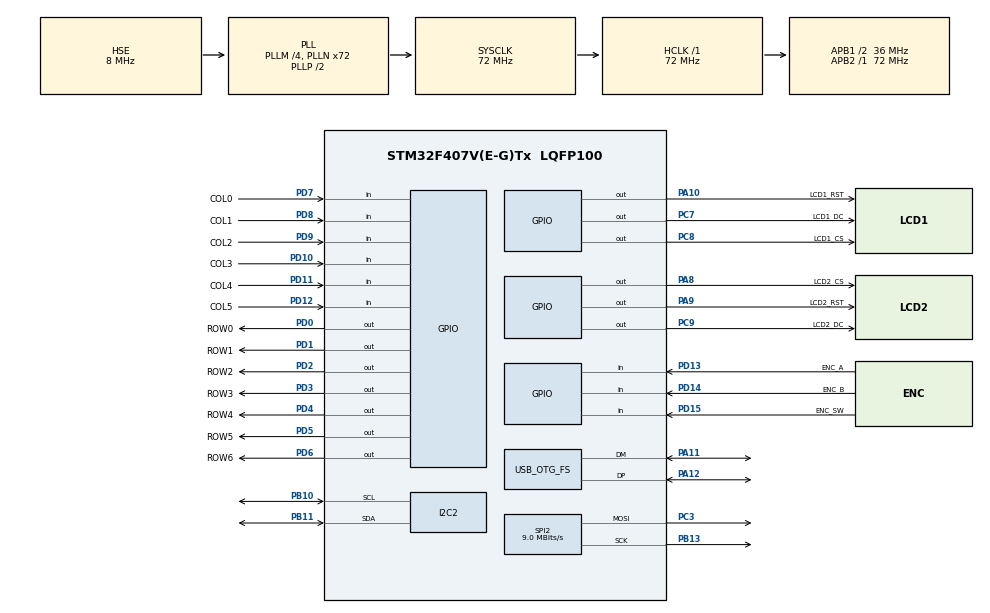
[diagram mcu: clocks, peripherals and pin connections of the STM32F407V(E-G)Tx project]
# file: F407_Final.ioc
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Dma.Request0=SPI2_TX
Dma.SPI2_TX.0.Direction=DMA_MEMORY_TO_PERIPH
Dma.SPI2_TX.0.FIFOMode=DMA_FIFOMODE_DISABLE
Dma.SPI2_TX.0.Instance=DMA1_Stream4
Dma.SPI2_TX.0.MemDataAlignment=DMA_MDATAALIGN_BYTE
Dma.SPI2_TX.0.MemInc=DMA_MINC_ENABLE
Dma.SPI2_TX.0.Mode=DMA_NORMAL
Dma.SPI2_TX.0.PeriphDataAlignment=DMA_PDATAALIGN_BYTE
Dma.SPI2_TX.0.PeriphInc=DMA_PINC_DISABLE
Dma.SPI2_TX.0.Priority=DMA_PRIORITY_LOW
I2C2.I2C_Mode=I2C_Fast
Mcu.Family=STM32F4
Mcu.Name=STM32F407V(E-G)Tx
Mcu.Package=LQFP100
NVIC.DMA1_Stream4_IRQn=true\:0\:0\:false\:false\:true\:false\:true\:true
NVIC.I2C2_EV_IRQn=true\:0\:0\:false\:false\:true\:true\:true\:true
NVIC.OTG_FS_IRQn=true\:0\:0\:false\:false\:true\:false\:true\:true
NVIC.PriorityGroup=NVIC_PRIORITYGROUP_4
NVIC.TIM4_IRQn=true\:0\:0\:false\:false\:true\:true\:true\:true
NVIC.TIM6_DAC_IRQn=true\:0\:0\:false\:false\:true\:true\:true\:true
NVIC.TIM7_IRQn=true\:0\:0\:false\:false\:true\:true\:true\:true
PA10.GPIO_Label=LCD1_RST
PA10.Signal=GPIO_Output
PA11.Mode=Device_Only
PA11.Signal=USB_OTG_FS_DM
PA12.Mode=Device_Only
PA12.Signal=USB_OTG_FS_DP
PA13.Mode=Serial_Wire
PA13.Signal=SYS_JTMS-SWDIO
PA14.Mode=Serial_Wire
PA14.Signal=SYS_JTCK-SWCLK
PA8.GPIO_Label=LCD2_CS
PA8.Signal=GPIO_Output
PA9.GPIO_Label=LCD2_RST
PA9.Signal=GPIO_Output
PB10.Mode=I2C
PB10.Signal=I2C2_SCL
PB11.Mode=I2C
PB11.Signal=I2C2_SDA
PB13.Mode=TX_Only_Simplex_Unidirect_Master
PB13.Signal=SPI2_SCK
PC3.Mode=TX_Only_Simplex_Unidirect_Master
PC3.Signal=SPI2_MOSI
PC7.GPIO_Label=LCD1_DC
PC7.Signal=GPIO_Output
PC8.GPIO_Label=LCD1_CS
PC8.Signal=GPIO_Output
PC9.GPIO_Label=LCD2_DC
PC9.Signal=GPIO_Output
PD0.GPIO_Label=ROW0
PD0.Signal=GPIO_Output
PD1.GPIO_Label=ROW1
PD1.Signal=GPIO_Output
PD10.GPIO_Label=COL3
PD10.Signal=GPIO_Input
PD11.GPIO_Label=COL4
PD11.Signal=GPIO_Input
PD12.GPIO_Label=COL5
PD12.Signal=GPIO_Input
PD13.GPIO_Label=ENC_A
PD13.Signal=GPIO_Input
PD14.GPIO_Label=ENC_B
PD14.Signal=GPIO_Input
PD15.GPIO_Label=ENC_SW
PD15.Signal=GPIO_Input
PD2.GPIO_Label=ROW2
PD2.Signal=GPIO_Output
PD3.GPIO_Label=ROW3
PD3.Signal=GPIO_Output
PD4.GPIO_Label=ROW4
PD4.Signal=GPIO_Output
PD5.GPIO_Label=ROW5
PD5.Signal=GPIO_Output
PD6.GPIO_Label=ROW6
PD6.Signal=GPIO_Output
PD7.GPIO_Label=COL0
PD7.Signal=GPIO_Input
PD8.GPIO_Label=COL1
PD8.Signal=GPIO_Input
PD9.GPIO_Label=COL2
PD9.Signal=GPIO_Input
PH0-OSC_IN.Mode=HSE-External-Clock-Source
PH0-OSC_IN.Signal=RCC_OSC_IN
PH1-OSC_OUT.Mode=HSE-External-Clock-Source
PH1-OSC_OUT.Signal=RCC_OSC_OUT
ProjectManager.HeapSize=0x1000
ProjectManager.StackSize=0x400
ProjectManager.TargetToolchain=STM32CubeIDE
RCC.48MHZClocksFreq_Value=48000000
RCC.AHBFreq_Value=72000000
RCC.APB1CLKDivider=RCC_HCLK_DIV2
RCC.APB1Freq_Value=36000000
RCC.APB1TimFreq_Value=72000000
RCC.APB2Freq_Value=72000000
RCC.APB2TimFreq_Value=72000000
RCC.CortexFreq_Value=72000000
RCC.HCLKFreq_Value=72000000
RCC.HSE_Timout=1000
RCC.HSE_VALUE=8000000
RCC.HSI_VALUE=16000000
RCC.LSE_VALUE=32768
RCC.PLLM=4
RCC.PLLN=72
RCC.PLLQ=3
RCC.SYSCLKFreq_VALUE=72000000
RCC.SYSCLKSource=RCC_SYSCLKSOURCE_PLLCLK
RCC.VCOOutputFreq_Value=144000000
SPI2.BaudRatePrescaler=SPI_BAUDRATEPRESCALER_4
SPI2.CalculateBaudRate=9.0 MBits/s
SPI2.Direction=SPI_DIRECTION_2LINES
SPI2.Mode=SPI_MODE_MASTER
SPI2.VirtualType=VM_MASTER
TIM4.Period=100-1
TIM4.Prescaler=160-1
TIM6.Period=20-1
TIM6.Prescaler=1600-1
TIM7.Period=4000-1
TIM7.Prescaler=36000-1
USB_DEVICE.CLASS_NAME_FS=HID
USB_DEVICE.MANUFACTURER_STRING-HID_FS=Team 4
USB_DEVICE.PID_HID_FS=543
USB_DEVICE.PRODUCT_STRING_HID_FS=Split Keyboard
USB_DEVICE.USBD_DEBUG_LEVEL-HID_FS=3
USB_DEVICE.USBD_SELF_POWERED-HID_FS=0
USB_DEVICE.VID-HID_FS=1453
USB_DEVICE.VirtualMode-HID_FS=Hid
USB_DEVICE.VirtualModeFS=Hid_FS
USB_OTG_FS.VirtualMode=Device_Only
VP_TIM4_VS_ClockSourceINT.Mode=Internal
VP_TIM6_VS_ClockSourceINT.Mode=Enable_Timer
VP_TIM7_VS_ClockSourceINT.Mode=Enable_Timer
VP_USB_DEVICE_VS_USB_DEVICE_HID_FS.Mode=HID_FS
board=custom

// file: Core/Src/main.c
/* USER CODE BEGIN Header */
/**
  ******************************************************************************
  * @file           : main.c
  * @brief          : Main program body
  ******************************************************************************
  * @attention
  *
  * Copyright (c) 2022 STMicroelectronics.
  * All rights reserved.
  *
  * This software is licensed under terms that can be found in the LICENSE file
  * in the root directory of this software component.
  * If no LICENSE file comes with this software, it is provided AS-IS.
  *
  ******************************************************************************
  */
/* USER CODE END Header */
#include "main.h"
#include "usb_device.h"

/* USER CODE BEGIN Includes */
#include "usbd_hid.h"
#include "keycodes.h"
#include "layout.h"
#include "ILI9341_GFX.h"
#include "ILI9341_STM32_Driver.h"

/* USER CODE END Includes */

/* USER CODE BEGIN PD */
#define KEYCODE_LIMIT 6
#define GPIOEX_ADDR (0x20 << 1)

/* USER CODE END PD */

I2C_HandleTypeDef hi2c2;

SPI_HandleTypeDef hspi2;
DMA_HandleTypeDef hdma_spi2_tx;

TIM_HandleTypeDef htim4;
TIM_HandleTypeDef htim6;
TIM_HandleTypeDef htim7;

/* USER CODE BEGIN PV */

// WPM Counters
unsigned int charCount = 0;
unsigned int charsInCycle = 0;
unsigned int numCycles = 0;
unsigned int dryCycles = 0;
float wpm = 0;
float cpm = 0;
int writeScreen = 1;
long totalChars = 0;

// row-column scanning
int keycodeNum = 1;
int row = 0;
int local_cols = 0;
int expander_cols = 0;
int expander_rot = 0; // 3 bits: switch, A, B
int exLastCLK = 0;
int exRotLock = 0;

// rotary direction
int currentStateCLK = 0;
int lastStateCLK = 0;
int currentStateDT = 0;
int rotLock = 0;

// USBD struct
extern USBD_HandleTypeDef hUsbDeviceFS;

typedef struct
{
	uint8_t MODIFIER;
	uint8_t RESERVED;
	uint8_t KEYCODE1;
	uint8_t KEYCODE2;
	uint8_t KEYCODE3;
	uint8_t KEYCODE4;
	uint8_t KEYCODE5;
	uint8_t KEYCODE6;
} keyboardHID;

keyboardHID keyboardhid = {0,0,0,0,0,0,0,0};

/* USER CODE END PV */

void SystemClock_Config(void);
static void MX_GPIO_Init(void);
static void MX_DMA_Init(void);
static void MX_TIM4_Init(void);
static void MX_TIM6_Init(void);
static void MX_TIM7_Init(void);
static void MX_I2C2_Init(void);
static void MX_SPI2_Init(void);
/* USER CODE BEGIN PFP */
// local keypad scanning
void scan_keypad();
void set_rows();
void get_cols();

// rotary encoder scanning
void scan_rotary();

// usb functions
void add_keypress(uint16_t key);
void record_keys();

// LCD functions
void switch_lcd();

/* USER CODE END PFP */

/* USER CODE BEGIN 0 */
/* Local Keypad Scanning */
void scan_keypad() {
  set_rows();

  // update the global variables for col values
  get_cols();

  // scan local cols
  for(int i = 0; i < nCols1; i++) {
    if(local_cols & (1 << i)) {
    	if (keypresses1[row][i] != 1) {
    		keypresses1[row][i] = 1;
    	    // WPM timer not enabled
    	    if (!(TIM1->CR1 && TIM_CR1_CEN)) {
    	    	HAL_TIM_Base_Start_IT(&htim7);
    	    }
    	    charCount++;
    	    totalChars++;
    	    charsInCycle++;
    	}
    }
    else {
      keypresses1[row][i] = 0;
    }
  }

  // scan expander cols
  for(int i = 0; i < nCols2; i++) {
    if(expander_cols & (1 << i)) {
      if (keypresses2[row][i] != 1) {
    	  keypresses2[row][i] = 1;
    	  // WPM timer not enabled
    	  if (!(TIM1->CR1 && TIM_CR1_CEN)) {
    		  HAL_TIM_Base_Start_IT(&htim7);
    	  }
    	  charCount++;
    	  totalChars++;
    	  charsInCycle++;
      }
    }
    else {
      keypresses2[row][i] = 0;
    }

  }

}

void set_rows() {
  // update row value
  row = (row + 1) % nRows1;
  HAL_GPIO_WritePin(GPIOD, ROW0_Pin, GPIO_PIN_SET);
  HAL_GPIO_WritePin(GPIOD, ROW1_Pin, GPIO_PIN_SET);
  HAL_GPIO_WritePin(GPIOD, ROW2_Pin, GPIO_PIN_SET);
  HAL_GPIO_WritePin(GPIOD, ROW3_Pin, GPIO_PIN_SET);
  HAL_GPIO_WritePin(GPIOD, ROW4_Pin, GPIO_PIN_SET);
  HAL_GPIO_WritePin(GPIOD, ROW5_Pin, GPIO_PIN_SET);
  HAL_GPIO_WritePin(GPIOD, ROW6_Pin, GPIO_PIN_SET);

  // use global variable row to set the correct row to low and last row back to high
  switch(row) {
    case 0:
      HAL_GPIO_WritePin(GPIOD, ROW0_Pin, GPIO_PIN_RESET);
      break;
    case 1:
      HAL_GPIO_WritePin(GPIOD, ROW1_Pin, GPIO_PIN_RESET);
      break;
    case 2:
      HAL_GPIO_WritePin(GPIOD, ROW2_Pin, GPIO_PIN_RESET);
      break;
    case 3:
      HAL_GPIO_WritePin(GPIOD, ROW3_Pin, GPIO_PIN_RESET);
      break;
    case 4:
      HAL_GPIO_WritePin(GPIOD, ROW4_Pin, GPIO_PIN_RESET);
      break;
    case 5:
	  HAL_GPIO_WritePin(GPIOD, ROW5_Pin, GPIO_PIN_RESET);
	  break;
    case 6:
	  HAL_GPIO_WritePin(GPIOD, ROW6_Pin, GPIO_PIN_RESET);
	  break;
  }

  // ! GPIOB2 - GPIOB7 maps to row0 - row5, GPIOA7 maps to row6
  if (row != 6){
	  uint8_t data[3] = {0x14, ~0, ~( 0x04 << row )}; // addr 0x14 for IOCON.BANK = 0, 0x0A for IOCON.BANK = 1
	  HAL_I2C_Master_Transmit(&hi2c2, GPIOEX_ADDR, data, 3, 1000);
  } else {
	  uint8_t data[3] = {0x14, ~0x80, ~0}; // addr 0x14 for IOCON.BANK = 0, 0x0A for IOCON.BANK = 1
	  HAL_I2C_Master_Transmit(&hi2c2, GPIOEX_ADDR, data, 3, 1000);
  }
}

void get_cols() {
  // get the value of all columns as one int from the GPIO register
  // PD7-4
  local_cols = ~(GPIOD->IDR >> 7) & 0x3F;

  // read the GPIO expander columns
  // ! GPIOA0 - GPIOA5 maps to col0 - col5
  uint8_t data[2] = {0x12, 0x00}; // addr 0x12 for IOCON.BANK = 0, 0x09 for IOCON.BANK = 1
  HAL_I2C_Master_Transmit(&hi2c2, GPIOEX_ADDR, data, 1, 1000);
  HAL_I2C_Master_Receive(&hi2c2, GPIOEX_ADDR, data, 2, 1000);

  expander_cols = data[0] & 0x3F;

  expander_rot = (data[1] & 0x03) | ((data[0] & 0x40) >> 4); // switch, A, B
}

/* Rotary Encoder Scanning */
void scan_rotary() {
  currentStateCLK = HAL_GPIO_ReadPin(GPIOD, ENC_A_Pin);

  // if CLK pin has changed, then the rotary encoder has turned
  if (currentStateCLK != lastStateCLK && rotLock == 0 ) {// && rotLock == 0) {
    // if the DT state is different, then the encoder is rotating counter-clockwise
    currentStateDT = HAL_GPIO_ReadPin(GPIOD, ENC_B_Pin);

    if (currentStateDT != currentStateCLK) {
      // Volume Down
      rotary_keypresses1[1] = 1;
    }

    // otherwise, it is turning clockwise
    else if (currentStateDT == currentStateCLK) {
      // Volume Up
      rotary_keypresses1[2] = 1;
    }
    rotLock++;

  }
  else if (rotLock == 0) {
	  rotary_keypresses1[1] = 0;
	  rotary_keypresses1[2] = 0;
  }

  lastStateCLK = currentStateCLK;

  // rotLock allows the rotary encoder's inputs to settle over a few extra clock cycles
  if(rotLock != 0) {
    rotLock = (rotLock + 1) % 150;
  }

  // if the state is low (default is high), turn toggle the LED
  if (HAL_GPIO_ReadPin(GPIOD, ENC_SW_Pin) == 0) {
    // Volume Mute Toggle
	  rotary_keypresses1[0] = 1;
  }
  else {
	  rotary_keypresses1[0] = 0;
  }

  // Expander rotary encoder
  int exCLK  = (expander_rot & 0x01);
  int exDT = (expander_rot & 0x02) >> 1;
  int exSW  = (expander_rot & 0x04) >> 2;

  // if CLK pin has changed, then the rotary encoder has turned
  if (exCLK != exLastCLK && exRotLock == 0 ) {// && rotLock == 0) {
	  // if the DT state is different, then the encoder is rotating counter-clockwise

	  if (exDT != exCLK) {
		// Volume Down
		rotary_keypresses2[1] = 1;
	  }

	  // otherwise, it is turning clockwise
	  else if (exDT == exCLK) {
		// Volume Up
		rotary_keypresses2[2] = 1;
	  }
	  exRotLock++;

  }
  else if (exRotLock == 0) {
	  rotary_keypresses2[1] = 0;
	  rotary_keypresses2[2] = 0;
  }

  exLastCLK = exCLK;

  if(exRotLock != 0) {
      exRotLock = (exRotLock + 1) % 150;
  }

  if(exSW)
	  rotary_keypresses2[0] = 1;
  else
	  rotary_keypresses2[0] = 0;

}
/* END Rotary Encoder Scanning */

/* USB Functions */
void record_keys() {
  // reset keyboardhid to 0
  memset(&keyboardhid, 0, sizeof(keyboardHID));
  keycodeNum = 1;

  // Add local keypresses
  for(int i = 0; i < nRows1; i++) {
	  for(int j = 0; j < nCols1; j++) {
		  if(keypresses1[i][j] == 1) {
			  add_keypress(layout1[i][j]);
	    }
	  }
  }

  // Add GPIO Expander keypresses
  for(int i = 0; i < nRows2; i++) {
	  for(int j = 0; j < nCols2; j++) {
		  if(keypresses2[i][j] == 1) {
			  add_keypress(layout2[i][j]);
		  }
	  }
  }

  // Add Rotary Encoder keypresses
  for(int i = 0; i < 4; i++) {
	  if(rotary_keypresses1[i] == 1)
		  add_keypress(rotary_keys1[i]);
  }

  // Add Expander Rotary Encoder
  for(int i = 0; i < 4; i++) {
	  if(rotary_keypresses2[i] == 1)
		  add_keypress(rotary_keys2[i]);
   }

}

void add_keypress(uint16_t key) {

	if( (key & 0xFF00) == 0xFF00) {
		int shift = key & 0xFF;
		keyboardhid.MODIFIER |= (1<<shift);

		return;
	}

	switch(keycodeNum) {
		case 1:
		  keyboardhid.KEYCODE1 = key;
		  break;
		case 2:
		  keyboardhid.KEYCODE2 = key;
		  break;
		case 3:
		  keyboardhid.KEYCODE3 = key;
		  break;
		case 4:
		  keyboardhid.KEYCODE4 = key;
		  break;
		case 5:
		  keyboardhid.KEYCODE5 = key;
		  break;
		case 6:
		  keyboardhid.KEYCODE6 = key;
		  break;
		default:
			break;
	}
	keycodeNum++;

}
/* END USB Functions */

/* LCD Functions */
void switch_lcd() {
  // switch LCD_*_PIN and LCD_*_PORT between LCD1_* and LCD2_*
  if(LCD_DC_PIN == LCD2_DC_PIN) {
	LCD_CS_PORT = LCD1_CS_PORT;
	LCD_CS_PIN = LCD1_CS_PIN;
	LCD_DC_PORT = LCD1_DC_PORT;
	LCD_DC_PIN = LCD1_DC_PIN;
	LCD_RST_PORT = LCD1_RST_PORT;
	LCD_RST_PIN = LCD1_RST_PIN;
  }
  else {
	LCD_CS_PORT = LCD2_CS_PORT;
	LCD_CS_PIN = LCD2_CS_PIN;
	LCD_DC_PORT = LCD2_DC_PORT;
	LCD_DC_PIN = LCD2_DC_PIN;
	LCD_RST_PORT = LCD2_RST_PORT;
	LCD_RST_PIN = LCD2_RST_PIN;
  }
}
/* END LCD Functions */

/* USER CODE END 0 */

int main(void)
{

  /* MCU Configuration--------------------------------------------------------*/

  /* Reset of all peripherals, Initializes the Flash interface and the Systick. */
  HAL_Init();

  /* USER CODE BEGIN Init */
  //HAL_Delay(2000);
  /* USER CODE END Init */

  /* Configure the system clock */
  SystemClock_Config();

  /* Initialize all configured peripherals */
  MX_GPIO_Init();
  MX_DMA_Init();
  MX_USB_DEVICE_Init();
  MX_TIM4_Init();
  MX_TIM6_Init();
  MX_TIM7_Init();
  MX_I2C2_Init();
  MX_SPI2_Init();
  /* USER CODE BEGIN 2 */

  // Initialize the LCDs
  // Left Screen
  char writeBuff[20];
  ILI9341_Init();
  ILI9341_SetRotation(SCREEN_VERTICAL_1);
  ILI9341_FillScreen(BLACK);
//  sprintf(writeBuff, "Characters");
//  ILI9341_DrawText(writeBuff, FONT5, 25, 85, WHITE, BLACK);
//  sprintf(writeBuff, "Pressed ");
//  ILI9341_DrawText(writeBuff, FONT5, 25, 135, WHITE, BLACK);
  sprintf(writeBuff, "Characters");
  ILI9341_DrawText(writeBuff, FONT5, 10, 85, WHITE, BLACK);
  sprintf(writeBuff, "Per");
  ILI9341_DrawText(writeBuff, FONT5, 10, 135, WHITE, BLACK);
  sprintf(writeBuff, "Minute:");
  ILI9341_DrawText(writeBuff, FONT5, 10, 185, WHITE, BLACK);
  sprintf(writeBuff, "Total Pressed:");
  ILI9341_DrawText(writeBuff, FONT4, 10, 290, WHITE, BLACK);

  // Right Screen
  switch_lcd();
  ILI9341_Init();
  ILI9341_SetRotation(SCREEN_VERTICAL_1);
  ILI9341_FillScreen(BLACK);
  sprintf(writeBuff, "Words");
  ILI9341_DrawText(writeBuff, FONT5, 25, 85, WHITE, BLACK);
  sprintf(writeBuff, "Per");
  ILI9341_DrawText(writeBuff, FONT5, 25, 135, WHITE, BLACK);
  sprintf(writeBuff, "Minute:");
  ILI9341_DrawText(writeBuff, FONT5, 25, 185, WHITE, BLACK);

  // start the timer interrupt
  HAL_TIM_Base_Start_IT(&htim4);
  HAL_TIM_Base_Start_IT(&htim6);

  /* USER CODE END 2 */

  /* Infinite loop */
  /* USER CODE BEGIN WHILE */

  char buffer1[10];
  char buffer2[10];

  while (1)
  {
//	  //draw the counter to the lcd
	  if (writeScreen) {
		  sprintf(buffer1, "%-3d", (int)wpm);
	  	  ILI9341_DrawText(buffer1, FONT5, 	165, 185, WHITE, BLACK);

	  	  switch_lcd();

	  	  sprintf(buffer2, "%-4d", (int)cpm);
	  	  ILI9341_DrawText(buffer2, FONT5, 150, 185, WHITE, BLACK);

	  	  sprintf(buffer2, "%9ld", totalChars);
	  	  ILI9341_DrawText(buffer2, FONT4, 140, 290, WHITE, BLACK);
	  	  writeScreen = 0;

	  	  switch_lcd();
	  }

    /* USER CODE END WHILE */

  }
}

void SystemClock_Config(void)
{
  RCC_OscInitTypeDef RCC_OscInitStruct = {0};
  RCC_ClkInitTypeDef RCC_ClkInitStruct = {0};

  /** Configure the main internal regulator output voltage
  */
  __HAL_RCC_PWR_CLK_ENABLE();
  __HAL_PWR_VOLTAGESCALING_CONFIG(PWR_REGULATOR_VOLTAGE_SCALE1);

  /** Initializes the RCC Oscillators according to the specified parameters
  * in the RCC_OscInitTypeDef structure.
  */
  RCC_OscInitStruct.OscillatorType = RCC_OSCILLATORTYPE_HSE;
  RCC_OscInitStruct.HSEState = RCC_HSE_BYPASS;
  RCC_OscInitStruct.PLL.PLLState = RCC_PLL_ON;
  RCC_OscInitStruct.PLL.PLLSource = RCC_PLLSOURCE_HSE;
  RCC_OscInitStruct.PLL.PLLM = 4;
  RCC_OscInitStruct.PLL.PLLN = 72;
  RCC_OscInitStruct.PLL.PLLP = RCC_PLLP_DIV2;
  RCC_OscInitStruct.PLL.PLLQ = 3;
  if (HAL_RCC_OscConfig(&RCC_OscInitStruct) != HAL_OK)
  {
    Error_Handler();
  }

  /** Initializes the CPU, AHB and APB buses clocks
  */
  RCC_ClkInitStruct.ClockType = RCC_CLOCKTYPE_HCLK|RCC_CLOCKTYPE_SYSCLK
                              |RCC_CLOCKTYPE_PCLK1|RCC_CLOCKTYPE_PCLK2;
  RCC_ClkInitStruct.SYSCLKSource = RCC_SYSCLKSOURCE_PLLCLK;
  RCC_ClkInitStruct.AHBCLKDivider = RCC_SYSCLK_DIV1;
  RCC_ClkInitStruct.APB1CLKDivider = RCC_HCLK_DIV2;
  RCC_ClkInitStruct.APB2CLKDivider = RCC_HCLK_DIV1;

  if (HAL_RCC_ClockConfig(&RCC_ClkInitStruct, FLASH_LATENCY_2) != HAL_OK)
  {
    Error_Handler();
  }
}

static void MX_I2C2_Init(void)
{

  hi2c2.Instance = I2C2;
  hi2c2.Init.ClockSpeed = 400000;
  hi2c2.Init.DutyCycle = I2C_DUTYCYCLE_2;
  hi2c2.Init.OwnAddress1 = 0;
  hi2c2.Init.AddressingMode = I2C_ADDRESSINGMODE_7BIT;
  hi2c2.Init.DualAddressMode = I2C_DUALADDRESS_DISABLE;
  hi2c2.Init.OwnAddress2 = 0;
  hi2c2.Init.GeneralCallMode = I2C_GENERALCALL_DISABLE;
  hi2c2.Init.NoStretchMode = I2C_NOSTRETCH_DISABLE;
  if (HAL_I2C_Init(&hi2c2) != HAL_OK)
  {
    Error_Handler();
  }
  /* USER CODE BEGIN I2C2_Init 2 */

  // Set Rows to outputs, cols to inputs
  // Reverse polarity of the input pins since we are using active low
  // 1: input/reverse polarity
  // 0: output/regular polarity
  // GPIOA: 0111 1111
  // GPIOB: 0000 0011
  uint8_t data[5] = {0x00, 0x7F, 0x03, 0x7F, 0x03}; // addr 0x00 with data 0x7F
  HAL_I2C_Master_Transmit(&hi2c2, GPIOEX_ADDR, data, 5, 1000);

  // internal pull up
  uint8_t data2[2] = {0x0C, 0x3F};
  HAL_I2C_Master_Transmit(&hi2c2, GPIOEX_ADDR, data2, 2, 1000);

  /* USER CODE END I2C2_Init 2 */

}

static void MX_SPI2_Init(void)
{

  /* SPI2 parameter configuration*/
  hspi2.Instance = SPI2;
  hspi2.Init.Mode = SPI_MODE_MASTER;
  hspi2.Init.Direction = SPI_DIRECTION_2LINES;
  hspi2.Init.DataSize = SPI_DATASIZE_8BIT;
  hspi2.Init.CLKPolarity = SPI_POLARITY_LOW;
  hspi2.Init.CLKPhase = SPI_PHASE_1EDGE;
  hspi2.Init.NSS = SPI_NSS_SOFT;
  hspi2.Init.BaudRatePrescaler = SPI_BAUDRATEPRESCALER_4;
  hspi2.Init.FirstBit = SPI_FIRSTBIT_MSB;
  hspi2.Init.TIMode = SPI_TIMODE_DISABLE;
  hspi2.Init.CRCCalculation = SPI_CRCCALCULATION_DISABLE;
  hspi2.Init.CRCPolynomial = 10;
  if (HAL_SPI_Init(&hspi2) != HAL_OK)
  {
    Error_Handler();
  }

}

static void MX_TIM4_Init(void)
{

  TIM_ClockConfigTypeDef sClockSourceConfig = {0};
  TIM_MasterConfigTypeDef sMasterConfig = {0};

  htim4.Instance = TIM4;
  htim4.Init.Prescaler = 160-1;
  htim4.Init.CounterMode = TIM_COUNTERMODE_UP;
  htim4.Init.Period = 100-1;
  htim4.Init.ClockDivision = TIM_CLOCKDIVISION_DIV1;
  htim4.Init.AutoReloadPreload = TIM_AUTORELOAD_PRELOAD_DISABLE;
  if (HAL_TIM_Base_Init(&htim4) != HAL_OK)
  {
    Error_Handler();
  }
  sClockSourceConfig.ClockSource = TIM_CLOCKSOURCE_INTERNAL;
  if (HAL_TIM_ConfigClockSource(&htim4, &sClockSourceConfig) != HAL_OK)
  {
    Error_Handler();
  }
  sMasterConfig.MasterOutputTrigger = TIM_TRGO_RESET;
  sMasterConfig.MasterSlaveMode = TIM_MASTERSLAVEMODE_DISABLE;
  if (HAL_TIMEx_MasterConfigSynchronization(&htim4, &sMasterConfig) != HAL_OK)
  {
    Error_Handler();
  }

}

static void MX_TIM6_Init(void)
{

  TIM_MasterConfigTypeDef sMasterConfig = {0};

  htim6.Instance = TIM6;
  htim6.Init.Prescaler = 1600-1;
  htim6.Init.CounterMode = TIM_COUNTERMODE_UP;
  htim6.Init.Period = 20-1;
  htim6.Init.AutoReloadPreload = TIM_AUTORELOAD_PRELOAD_DISABLE;
  if (HAL_TIM_Base_Init(&htim6) != HAL_OK)
  {
    Error_Handler();
  }
  sMasterConfig.MasterOutputTrigger = TIM_TRGO_RESET;
  sMasterConfig.MasterSlaveMode = TIM_MASTERSLAVEMODE_DISABLE;
  if (HAL_TIMEx_MasterConfigSynchronization(&htim6, &sMasterConfig) != HAL_OK)
  {
    Error_Handler();
  }

}

static void MX_TIM7_Init(void)
{

  TIM_MasterConfigTypeDef sMasterConfig = {0};

  htim7.Instance = TIM7;
  htim7.Init.Prescaler = 36000-1;
  htim7.Init.CounterMode = TIM_COUNTERMODE_UP;
  htim7.Init.Period = 4000-1;
  htim7.Init.AutoReloadPreload = TIM_AUTORELOAD_PRELOAD_DISABLE;
  if (HAL_TIM_Base_Init(&htim7) != HAL_OK)
  {
    Error_Handler();
  }
  sMasterConfig.MasterOutputTrigger = TIM_TRGO_RESET;
  sMasterConfig.MasterSlaveMode = TIM_MASTERSLAVEMODE_DISABLE;
  if (HAL_TIMEx_MasterConfigSynchronization(&htim7, &sMasterConfig) != HAL_OK)
  {
    Error_Handler();
  }

}

static void MX_DMA_Init(void)
{

  /* DMA controller clock enable */
  __HAL_RCC_DMA1_CLK_ENABLE();

  /* DMA interrupt init */
  /* DMA1_Stream4_IRQn interrupt configuration */
  HAL_NVIC_SetPriority(DMA1_Stream4_IRQn, 0, 0);
  HAL_NVIC_EnableIRQ(DMA1_Stream4_IRQn);

}

static void MX_GPIO_Init(void)
{
  GPIO_InitTypeDef GPIO_InitStruct = {0};

  /* GPIO Ports Clock Enable */
  __HAL_RCC_GPIOH_CLK_ENABLE();
  __HAL_RCC_GPIOC_CLK_ENABLE();
  __HAL_RCC_GPIOB_CLK_ENABLE();
  __HAL_RCC_GPIOD_CLK_ENABLE();
  __HAL_RCC_GPIOA_CLK_ENABLE();

  /*Configure GPIO pin Output Level */
  HAL_GPIO_WritePin(GPIOC, LCD1_DC_Pin|LCD1_CS_Pin|LCD2_DC_Pin, GPIO_PIN_RESET);

  /*Configure GPIO pin Output Level */
  HAL_GPIO_WritePin(GPIOA, LCD2_CS_Pin|LCD2_RST_Pin|LCD1_RST_Pin, GPIO_PIN_RESET);

  /*Configure GPIO pin Output Level */
  HAL_GPIO_WritePin(GPIOD, ROW0_Pin|ROW1_Pin|ROW2_Pin|ROW3_Pin
                          |ROW4_Pin|ROW5_Pin|ROW6_Pin, GPIO_PIN_RESET);

  /*Configure GPIO pins : COL1_Pin COL2_Pin COL3_Pin COL4_Pin
                           COL5_Pin ENC_A_Pin ENC_B_Pin ENC_SW_Pin
                           COL0_Pin */
  GPIO_InitStruct.Pin = COL1_Pin|COL2_Pin|COL3_Pin|COL4_Pin
                          |COL5_Pin|ENC_A_Pin|ENC_B_Pin|ENC_SW_Pin
                          |COL0_Pin;
  GPIO_InitStruct.Mode = GPIO_MODE_INPUT;
  GPIO_InitStruct.Pull = GPIO_NOPULL;
  HAL_GPIO_Init(GPIOD, &GPIO_InitStruct);

  /*Configure GPIO pins : LCD1_DC_Pin LCD1_CS_Pin LCD2_DC_Pin */
  GPIO_InitStruct.Pin = LCD1_DC_Pin|LCD1_CS_Pin|LCD2_DC_Pin;
  GPIO_InitStruct.Mode = GPIO_MODE_OUTPUT_PP;
  GPIO_InitStruct.Pull = GPIO_NOPULL;
  GPIO_InitStruct.Speed = GPIO_SPEED_FREQ_LOW;
  HAL_GPIO_Init(GPIOC, &GPIO_InitStruct);

  /*Configure GPIO pins : LCD2_CS_Pin LCD2_RST_Pin LCD1_RST_Pin */
  GPIO_InitStruct.Pin = LCD2_CS_Pin|LCD2_RST_Pin|LCD1_RST_Pin;
  GPIO_InitStruct.Mode = GPIO_MODE_OUTPUT_PP;
  GPIO_InitStruct.Pull = GPIO_NOPULL;
  GPIO_InitStruct.Speed = GPIO_SPEED_FREQ_LOW;
  HAL_GPIO_Init(GPIOA, &GPIO_InitStruct);

  /*Configure GPIO pins : ROW0_Pin ROW1_Pin ROW2_Pin ROW3_Pin
                           ROW4_Pin ROW5_Pin ROW6_Pin */
  GPIO_InitStruct.Pin = ROW0_Pin|ROW1_Pin|ROW2_Pin|ROW3_Pin
                          |ROW4_Pin|ROW5_Pin|ROW6_Pin;
  GPIO_InitStruct.Mode = GPIO_MODE_OUTPUT_PP;
  GPIO_InitStruct.Pull = GPIO_NOPULL;
  GPIO_InitStruct.Speed = GPIO_SPEED_FREQ_LOW;
  HAL_GPIO_Init(GPIOD, &GPIO_InitStruct);

}

/* USER CODE BEGIN 4 */

// Callback: timer has reset
void HAL_TIM_PeriodElapsedCallback(TIM_HandleTypeDef *htim) {

	// Send USB data
	if (htim == &htim4) {
	    // send HID report
		record_keys();
		USBD_HID_SendReport(&hUsbDeviceFS, (uint8_t*) &keyboardhid, sizeof(keyboardhid));
	}

	// Keypad scanning
	else if (htim == &htim6) {

		/* Row-Col Scanning */
		scan_keypad();

		/* Rotary Encoder */
		scan_rotary();
	}

	else if (htim == &htim7) {
//		// words per minute
//		// check to see if any keys pressed
		if (charsInCycle == 0) {
			dryCycles++;
			// shut down if 5 cycles with no presses
			if (dryCycles == 5) {
				charCount = 0;
				charsInCycle = 0;
				dryCycles = 0;
				numCycles = 0;
				HAL_TIM_Base_Stop_IT(&htim7);
			}
		}
		// calculate wpm
		numCycles++;
		wpm = (charCount / 5.0f) / ((2.0f * numCycles) / 60.0f);
		cpm = (charCount) / ((2.0f * numCycles) / 60.0f);
		charsInCycle = 0;
		writeScreen = 1;

	}
}

/* USER CODE END 4 */

void Error_Handler(void)
{
  __disable_irq();
  while (1)
  {
  }
}
